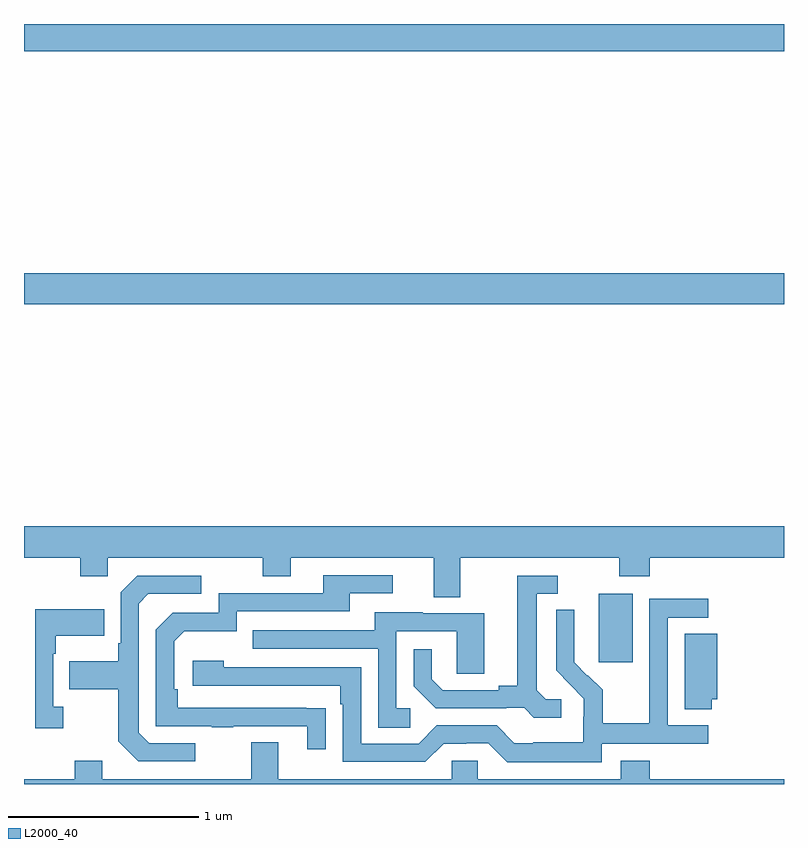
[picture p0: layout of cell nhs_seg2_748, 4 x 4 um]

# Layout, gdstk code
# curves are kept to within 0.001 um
import gdstk
lib = gdstk.Library(unit=1e-6, precision=1e-09)
def R(c, l, rs):  # rectangles x0, y0, x1, y1
    for r in rs: c.add(gdstk.rectangle(r[:2], r[2:], *l))
def P(c, l, *ps):  # polygons
    for p in ps: c.add(gdstk.Polygon(p, *l))
L2000_40 = (2000, 40)

nhs_seg2_748 = lib.new_cell('nhs_seg2_748')
R(nhs_seg2_748, L2000_40, [(152.024,624.441,152.203,624.802), (149,626.324,153,626.488), (149,627.656,153,627.8)])
P(nhs_seg2_748, L2000_40, [(151.297,624.992),(152.134,624.992),(152.134,624.893),(152.294,624.893),(152.294,624.992),(153,624.992),(153,625.156),(149,625.156),(149,624.992),(149.296,624.992),(149.296,624.893),(149.442,624.893),(149.442,624.992),(150.256,624.992),(150.256,624.893),(150.403,624.893),(150.403,624.992),(151.157,624.992),(151.157,624.784),(151.297,624.784)],
  [(150.587,624.2),(149.81,624.201),(149.81,624.298),(149.79,624.298),(149.79,624.552),(149.843,624.605),(150.12,624.605),(150.12,624.708),(150.715,624.708),(150.715,624.804),(150.94,624.804),(150.94,624.9),(150.575,624.9),(150.575,624.804),(150.024,624.804),(150.024,624.702),(149.784,624.702),(149.694,624.612),(149.694,624.105),(149.989,624.105),(149.989,624.1),(150.101,624.1),(150.101,624.105),(150.491,624.105),(150.491,623.982),(150.587,623.982)],
  [(149.902,624.015),(149.658,624.015),(149.604,624.069),(149.604,624.75),(149.655,624.801),(149.932,624.801),(149.932,624.897),(149.595,624.897),(149.508,624.81),(149.508,624.541),(149.496,624.541),(149.496,624.445),(149.239,624.445),(149.239,624.298),(149.496,624.298),(149.496,624.025),(149.601,623.919),(149.902,623.919)],
  [(151.828,624.246),(151.746,624.246),(151.699,624.293),(151.699,624.801),(151.81,624.801),(151.81,624.897),(151.595,624.897),(151.595,624.317),(151.499,624.317),(151.499,624.294),(151.204,624.294),(151.147,624.351),(151.147,624.508),(151.05,624.508),(151.05,624.314),(151.166,624.198),(151.538,624.198),(151.538,624.201),(151.632,624.201),(151.684,624.149),(151.828,624.149)],
  [(152.04,624.012),(152.602,624.012),(152.602,624.108),(152.388,624.108),(152.388,624.675),(152.602,624.675),(152.602,624.774),(152.292,624.774),(152.292,624.344),(152.29,624.344),(152.29,624.121),(152.045,624.121),(152.045,624.295),(151.968,624.372),(151.965,624.369),(151.895,624.44),(151.896,624.716),(151.8,624.716),(151.8,624.398),(151.946,624.25),(151.946,624.153),(151.944,624.153),(151.944,624.019),(151.681,624.019),(151.681,624.015),(151.581,624.015),(151.488,624.108),(151.173,624.108),(151.077,624.012),(150.774,624.012),(150.774,624.414),(150.05,624.414),(150.05,624.448),(149.889,624.448),(149.889,624.318),(150.665,624.318),(150.665,624.221),(150.678,624.221),(150.678,623.916),(151.113,623.916),(151.209,624.012),(151.328,624.012),(151.328,624.015),(151.443,624.015),(151.543,623.915),(152.04,623.915)],
  [(149.206,624.206),(149.154,624.206),(149.154,624.485),(149.167,624.485),(149.167,624.581),(149.423,624.581),(149.423,624.721),(149.058,624.721),(149.058,624.093),(149.206,624.093)],
  [(151.033,624.198),(150.96,624.198),(150.96,624.603),(151.278,624.603),(151.278,624.379),(151.423,624.379),(151.423,624.699),(151.099,624.699),(151.099,624.703),(150.845,624.703),(150.845,624.609),(150.205,624.609),(150.205,624.513),(150.864,624.513),(150.864,624.097),(151.033,624.097)],
  [(152.621,624.246),(152.648,624.246),(152.648,624.59),(152.477,624.59),(152.477,624.193),(152.621,624.193)],
  [(153,623.824),(152.294,623.824),(152.294,623.923),(152.141,623.923),(152.141,623.824),(151.389,623.824),(151.389,623.922),(151.251,623.922),(151.251,623.824),(150.337,623.824),(150.337,624.019),(150.197,624.019),(150.197,623.824),(149.413,623.824),(149.413,623.923),(149.266,623.923),(149.266,623.824),(149,623.824),(149,623.8),(153,623.8)])

lib.write_gds('nhs_seg2_748.gds')
